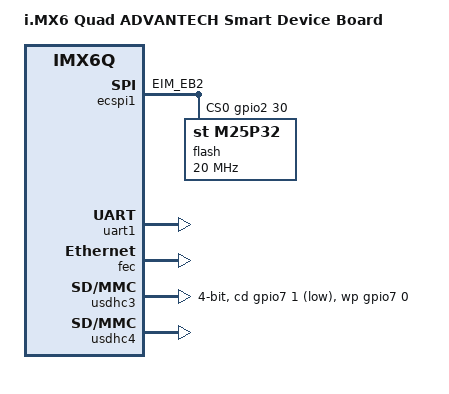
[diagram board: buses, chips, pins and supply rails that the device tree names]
// SPDX-License-Identifier: GPL-2.0+
//
// Copyright 2012 Freescale Semiconductor, Inc.
// Copyright 2011 Linaro Ltd.

/dts-v1/;

#include "imx6q.dtsi"
#include "imx6qdl-advantech.dtsi"

/ {
	model = "i.MX6 Quad ADVANTECH Smart Device Board";
	compatible = "fsl,imx6q-sabresd", "fsl,imx6q";
        aliases {
                mmc0 = &usdhc3;
                mmc1 = &usdhc4;
                mmc2;
                mmc3;
        };

};

&iomuxc {


	pinctrl_ecspi1_cs_0: ecspi1_cs_grp-0 {
		fsl,pins = <
			MX6QDL_PAD_EIM_EB2__GPIO2_IO30 0x1b0b0    /* ECSPI1_CS0 */
			>;
		};
};

&ecspi1 {
	fsl,spi-num-chipselects = <1>;
	cs-gpios = <&gpio2 30 0>;
	pinctrl-names = "default";
	pinctrl-0 = <&pinctrl_ecspi1_cs_0 &pinctrl_ecspi1>;
	status = "okay";

	flash: m25p80@0 {
		#address-cells = <1>;
		#size-cells = <1>;
		compatible = "st,m25p32", "jedec,spi-nor";
		spi-max-frequency = <20000000>;
		reg = <0>;
	};
};


&uart1 {
	status = "okay";
};

&fec {
	status = "okay";
};

&usdhc3 {
        pinctrl-names = "default";
        pinctrl-0 = <&pinctrl_usdhc3_2>;
        bus-width = <4>;
        cd-gpios = <&gpio7 1 GPIO_ACTIVE_LOW>;
        wp-gpios = <&gpio7 0 GPIO_ACTIVE_HIGH>;
        status = "okay";
};

&usdhc4 {
	status = "okay";
};
